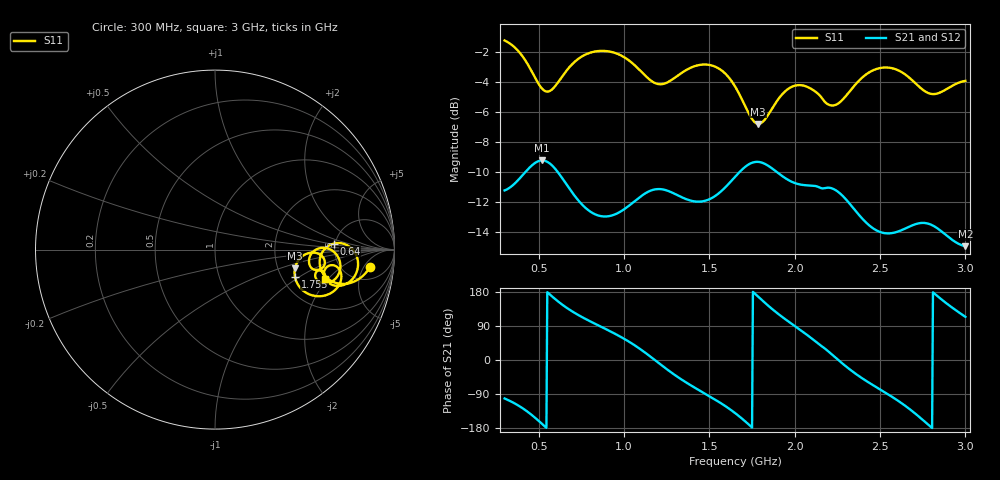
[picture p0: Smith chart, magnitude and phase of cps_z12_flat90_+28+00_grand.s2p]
! cps_z12_flat90_+28+00_grand
! simulated by sim/fixtures_fdtd.py (S12 = S21, S22 not computed)
# HZ S RI R 50
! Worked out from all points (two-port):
!   541 points, 300 MHz to 3 GHz, reference 50 ohm
!   highest |S21| = -9.23 dB at 520 MHz (marker M1); lowest = -14.9 dB at 3 GHz (marker M2)
!   |S21| within 3 dB of the highest: start of sweep to 758.8 MHz; 1.031 GHz to 2.33 GHz (1.299 GHz wide, 77.3 % of centre)
!   lowest |S11| = -6.8 dB at 1.785 GHz (marker M3), VSWR 2.69, Z = 124 - j33 ohm
!   |S11| at or under -10 dB: nowhere
!   |S22| runs from - to - dB; largest |S21 - S12| = 0
!   S11 on the Smith chart (normalised r, x): 300 MHz: 9, -7; 640 MHz: 4.84, +0.57; 1.755 GHz: 2.35, -0.92; 3 GHz: 3.41, -1.87
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3e8  0.8632 -0.0968  -0.0548 -0.269  -0.0548 -0.269  0 0
4.25e8  0.7146 -0.1913  -0.2181 -0.2309  -0.2181 -0.2309  0 0
5.2e8  0.5896 -0.1086  -0.3391 -0.0667  -0.3391 -0.0667  0 0
6.4e8  0.6611 0.0333  -0.2468 0.1709  -0.2468 0.1709  0 0
7.5e8  0.7664 0.000941  -0.1012 0.226  -0.1012 0.226  0 0
8.85e8  0.7944 -0.1065  0.026 0.2232  0.026 0.2232  0 0
1.025e9  0.7216 -0.1954  0.1584 0.1846  0.1584 0.1846  0 0
1.2e9  0.6068 -0.1336  0.2754 -0.0335  0.2754 -0.0335  0 0
1.4e9  0.6981 -0.1195  0.0897 -0.2367  0.0897 -0.2367  0 0
1.525e9  0.6813 -0.2118  -0.0551 -0.2552  -0.0551 -0.2552  0 0
1.65e9  0.5535 -0.2577  -0.2329 -0.1963  -0.2329 -0.1963  0 0
1.755e9  0.4454 -0.1522  -0.3403 0.00137  -0.3403 0.00137  0 0
1.785e9  0.4454 -0.1053  -0.3335 0.0749  -0.3335 0.0749  0 0
1.92e9  0.5684 -0.02  -0.1345 0.2776  -0.1345 0.2776  0 0
2.1e9  0.5873 -0.1089  0.1564 0.2382  0.1564 0.2382  0 0
2.26e9  0.5375 -0.0221  0.2697 -0.00878  0.2697 -0.00878  0 0
2.38e9  0.6409 0.00129  0.1637 -0.1562  0.1637 -0.1562  0 0
2.55e9  0.6944 -0.1219  -0.00501 -0.1973  -0.00501 -0.1973  0 0
2.67e9  0.6263 -0.1869  -0.1292 -0.1626  -0.1292 -0.1626  0 0
2.78e9  0.5599 -0.1541  -0.2094 -0.0379  -0.2094 -0.0379  0 0
2.885e9  0.5844 -0.1159  -0.1705 0.0949  -0.1705 0.0949  0 0
3e9  0.6155 -0.1635  -0.0723 0.1636  -0.0723 0.1636  0 0
